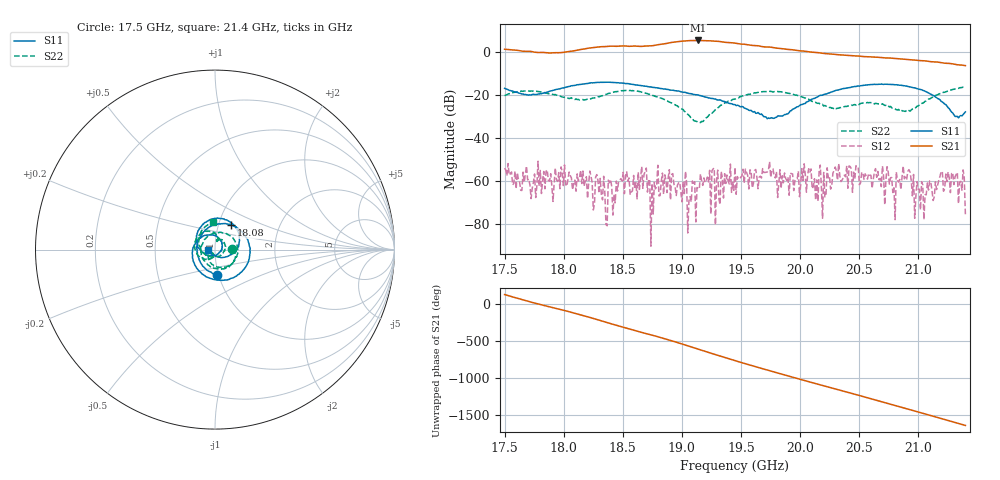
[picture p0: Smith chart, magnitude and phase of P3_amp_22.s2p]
!Created with skrf (http://scikit-rf.org).
# GHz S RI R 50.0
!freq ReS11 ImS11 ReS21 ImS21 ReS12 ImS12 ReS22 ImS22
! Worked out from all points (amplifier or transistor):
!   401 points, 17.5 GHz to 21.4 GHz, reference 50 ohm
!   highest |S21| = 5.3 dB at 19.14 GHz (marker M1)
!   |S21| within 3 dB of that: 18.29 GHz to 19.7 GHz (1.407 GHz wide, 7.4 % of centre)
!   unconditionally stable (mu >= 1): start of sweep to end of sweep
!   at 18.14 GHz: K = 236.57, MAG = 1.2 dB, |S12| = -54.9 dB
!   at 19.45 GHz: K = 148.32, MAG = 4.0 dB, |S12| = -53.5 dB
!   at 21.4 GHz: K = 5982.75, MAG = -6.3 dB, |S12| = -75.4 dB
!   S11 on the Smith chart (normalised r, x): 17.5 GHz: 0.98, -0.28; 18.08 GHz: 1.14, +0.33; 21.4 GHz: 0.92, -0.00
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17.5  0.01 -0.142  -0.7541 0.8646  -0.00151 0.00133  0.0963 0.0022
17.773  -0.0956 0.037  0.9541 0.1448  -0.000736 0.000251  0.0663 -0.1021
18.07525  0.0883 0.1382  -0.398 -0.9594  0.000619 -0.000139  -0.0747 -0.0325
18.15325  0.1423 0.1071  -0.9476 -0.632  -0.000213 -0.000859  -0.0758 0.0173
18.28  0.1942 0.013  -1.16 0.5419  0.000207 -0.00141  -0.0195 0.0862
18.42625  0.1601 -0.1106  0.124 1.34  0.00042 -0.000217  0.0931 0.0709
18.6115  0.0168 -0.1694  1.352 -0.0011  0.000755 -0.000545  0.0995 -0.0748
18.8065  -0.1057 -0.097  0.1769 -1.459  -0.000122 -0.000441  -0.00985 -0.085
18.99175  -0.1167 0.021  -1.731 -0.2606  -0.000548 -3.02e-05  -0.0367 -0.0327
19.138  -0.0637 0.077  -0.7375 1.676  -0.000661 0.000191  -0.0149 -0.0177
19.3135  0.00467 0.0763  1.575 0.7396  0.000246 0.000315  -0.02 -0.0484
19.45  0.0343 0.0488  1.185 -1.054  0.00193 0.000845  -0.0616 -0.0512
19.57675  0.0393 0.0189  -0.2708 -1.397  0.00144 -0.00115  -0.1016 -0.0194
19.7425  0.022 -0.0183  -1.284 -0.0717  0.00196 -0.00209  -0.1032 0.0638
19.918  -0.0264 -0.0337  -0.2701 1.091  0.000654 -0.00142  -0.0317 0.1026
20.10325  -0.08 -0.00451  0.9094 0.3619  -0.000445 -0.000502  0.016 0.069
20.3665  -0.0953 0.1034  -0.0458 -0.8388  -0.00119 0.000221  0.0109 0.0514
20.5615  -0.0211 0.1685  -0.7694 -0.0262  0.000334 0.00127  0.0395 0.0525
20.7565  0.0849 0.1537  -0.0665 0.7136  0.000537 0.00067  0.0527 -0.00287
20.9515  0.1355 0.0616  0.6484 0.0834  -0.000153 -0.000434  -0.0219 -0.0417
21.13675  0.0904 -0.0281  0.1383 -0.5664  0.000428 -9.82e-05  -0.0886 0.03
21.4  -0.0404 -0.00183  -0.4576 0.1383  -0.000126 0.000115  -0.00983 0.1549
